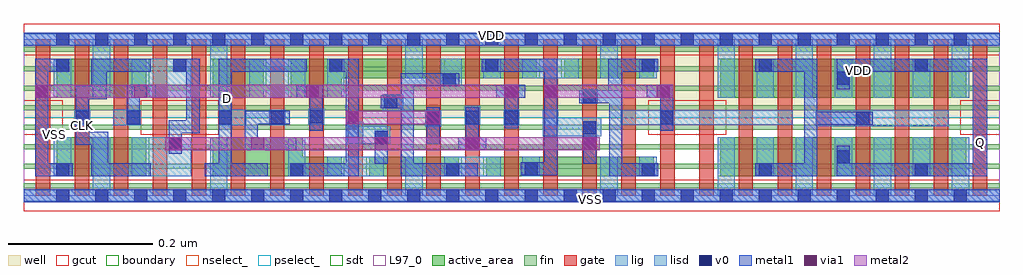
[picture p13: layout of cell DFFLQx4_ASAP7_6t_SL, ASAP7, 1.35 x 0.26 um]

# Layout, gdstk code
import gdstk
lib = gdstk.Library(unit=1e-6, precision=2.5e-10)
def R(c, l, rs):  # rectangles x0, y0, x1, y1
    for r in rs: c.add(gdstk.rectangle(r[:2], r[2:], *l))
def A(c, l, x, y, w, h, nx, ny, dx, dy):  # array of equal rectangles
    R(c, l, [(x+i*dx, y+j*dy, x+i*dx+w, y+j*dy+h) for i in range(nx) for j in range(ny)])
def P(c, l, *ps):  # polygons
    for p in ps: c.add(gdstk.Polygon(p, *l))
well = (1, 0)
fin = (2, 0)
gate = (7, 0)
gcut = (10, 0)
active_area = (11, 0)
nselect_ = (12, 0)
pselect_ = (13, 0)
lig = (16, 0)
lisd = (17, 0)
v0 = (18, 0)
metal1 = (19, 0)
metal2 = (20, 0)
via1 = (21, 0)
sdt = (88, 0)
L97_0 = (97, 0)
boundary = (100, 0)

dfflqx4_asap7_6t_sl = lib.new_cell('DFFLQx4_ASAP7_6t_SL')
R(dfflqx4_asap7_6t_sl, well, [(0,0.108,1.08,0.216), (1.08,0.108,1.134,0.216), (1.134,0.108,1.35,0.216)])
A(dfflqx4_asap7_6t_sl, fin, 0, 0.01, 1.08, 0.007, 1, 8, 0, 0.027)
A(dfflqx4_asap7_6t_sl, fin, 1.08, 0.01, 0.054, 0.007, 1, 8, 0, 0.027)
A(dfflqx4_asap7_6t_sl, fin, 1.134, 0.01, 0.216, 0.007, 1, 8, 0, 0.027)
A(dfflqx4_asap7_6t_sl, gate, 0.017, 0, 0.02, 0.216, 25, 1, 0.054, 0)
R(dfflqx4_asap7_6t_sl, gcut, [(0,-0.022,1.35,0.022), (0,0.084,0.054,0.132), (0.162,0.084,0.27,0.132), (0.864,0.084,0.972,0.132), (1.296,0.084,1.35,0.132), (0,0.194,1.35,0.238)])
R(dfflqx4_asap7_6t_sl, active_area, [(0.046,0.027,0.17,0.081), (0.478,0.027,0.602,0.054), (0.64,0.027,0.872,0.054), (0.964,0.027,1.304,0.081), (0.046,0.135,0.17,0.189), (0.262,0.135,0.332,0.189), (0.964,0.135,1.304,0.189), (0.748,0.162,0.872,0.189)])
P(dfflqx4_asap7_6t_sl, active_area, [(0.71,0.189),(0.37,0.189),(0.37,0.135),(0.44,0.135),(0.44,0.162),(0.71,0.162)],
  [(0.44,0.054),(0.386,0.054),(0.386,0.081),(0.262,0.081),(0.262,0.027),(0.44,0.027)])
R(dfflqx4_asap7_6t_sl, nselect_, [(0,0,1.08,0.108), (1.08,0,1.134,0.108), (1.134,0,1.35,0.108)])
R(dfflqx4_asap7_6t_sl, pselect_, [(0,0.108,1.08,0.216), (1.08,0.108,1.134,0.216), (1.134,0.108,1.35,0.216)])
R(dfflqx4_asap7_6t_sl, lig, [(0,-0.008,1.35,0.008), (0.448,0.072,0.47,0.102), (0.556,0.095,0.578,0.118), (1.096,0.096,1.28,0.118), (0.07,0.097,0.092,0.119), (0.124,0.097,0.162,0.119), (0.27,0.097,0.308,0.119), (0.34,0.097,0.362,0.119), (0.664,0.097,0.686,0.119), (0.718,0.097,0.74,0.119), (0.394,0.098,0.416,0.12), (0.61,0.098,0.632,0.124), (0.826,0.098,1.064,0.118), (0.497,0.117,0.525,0.14), (0.772,0.127,0.794,0.147), (0,0.208,1.35,0.224)])
A(dfflqx4_asap7_6t_sl, lisd, 0.96, 0, 0.024, 0.081, 4, 2, 0.108, 0.135)
A(dfflqx4_asap7_6t_sl, lisd, 1.014, 0.027, 0.024, 0.054, 3, 2, 0.108, 0.108)
R(dfflqx4_asap7_6t_sl, lisd, [(0.096,0,0.12,0.081), (0.258,0,0.282,0.081), (0.528,0,0.552,0.054), (0.798,0,0.822,0.054), (0.042,0.027,0.066,0.081), (0.15,0.027,0.232,0.081), (0.366,0.027,0.39,0.081), (0.42,0.027,0.498,0.054), (0.582,0.027,0.66,0.054), (0.69,0.027,0.714,0.054), (0.852,0.027,0.876,0.054), (0.448,0.072,0.507,0.096), (0.718,0.082,0.799,0.108), (0.042,0.135,0.066,0.189), (0.096,0.135,0.12,0.216), (0.15,0.135,0.231,0.189), (0.258,0.135,0.282,0.216), (0.312,0.135,0.39,0.189), (0.42,0.135,0.444,0.189), (0.577,0.151,0.606,0.189), (0.528,0.162,0.552,0.216), (0.636,0.162,0.66,0.189), (0.69,0.162,0.768,0.189), (0.798,0.162,0.822,0.216), (0.852,0.162,0.876,0.189)])
A(dfflqx4_asap7_6t_sl, v0, 0.045, -0.009, 0.018, 0.018, 24, 2, 0.054, 0.216)
A(dfflqx4_asap7_6t_sl, v0, 0.207, 0.171, 0.018, 0.018, 4, 1, 0.216, 0)
R(dfflqx4_asap7_6t_sl, v0, [(0.045,0.027,0.063,0.045), (0.369,0.027,0.387,0.045), (0.585,0.027,0.603,0.045), (0.855,0.027,0.873,0.045), (1.017,0.027,1.035,0.045), (1.233,0.027,1.251,0.045), (0.693,0.028,0.711,0.046), (1.125,0.045,1.143,0.063), (0.201,0.063,0.219,0.081), (0.486,0.072,0.504,0.09), (0.774,0.085,0.792,0.103), (0.558,0.097,0.576,0.115), (1.152,0.098,1.17,0.116), (0.072,0.099,0.09,0.117), (0.143,0.099,0.161,0.117), (0.27,0.099,0.288,0.117), (0.342,0.099,0.36,0.117), (0.612,0.099,0.63,0.117), (0.666,0.099,0.684,0.117), (0.881,0.099,0.899,0.117), (0.396,0.1,0.414,0.118), (0.499,0.121,0.517,0.139), (0.774,0.128,0.792,0.146), (0.58,0.151,0.598,0.169), (1.125,0.153,1.143,0.171), (0.045,0.171,0.063,0.189), (1.017,0.171,1.035,0.189), (1.233,0.171,1.251,0.189)])
R(dfflqx4_asap7_6t_sl, metal1, [(0,-0.009,1.35,0.009), (0.486,0.044,0.504,0.09), (0.774,0.044,0.792,0.103), (0.558,0.072,0.576,0.122), (0,0.207,1.35,0.225)])
P(dfflqx4_asap7_6t_sl, metal1, [(0.464,0.189),(0.423,0.189),(0.423,0.171),(0.446,0.171),(0.446,0.045),(0.369,0.045),(0.369,0.027),(0.464,0.027)],
  [(0.414,0.153),(0.377,0.153),(0.377,0.135),(0.396,0.135),(0.396,0.09),(0.414,0.09)],
  [(0.392,0.189),(0.27,0.189),(0.27,0.045),(0.251,0.045),(0.251,0.027),(0.338,0.027),(0.338,0.045),(0.288,0.045),(0.288,0.171),(0.392,0.171)],
  [(0.377,0.081),(0.324,0.081),(0.324,0.099),(0.368,0.099),(0.368,0.117),(0.306,0.117),(0.306,0.063),(0.377,0.063)],
  [(0.244,0.189),(0.207,0.189),(0.207,0.171),(0.225,0.171),(0.225,0.104),(0.201,0.104),(0.201,0.058),(0.219,0.058),(0.219,0.086),(0.244,0.086)],
  [(0.183,0.153),(0.143,0.153),(0.143,0.099),(0.161,0.099),(0.161,0.135),(0.183,0.135)],
  [(0.176,0.045),(0.117,0.045),(0.117,0.088),(0.09,0.088),(0.09,0.133),(0.115,0.133),(0.115,0.171),(0.176,0.171),(0.176,0.189),(0.094,0.189),(0.094,0.151),(0.072,0.151),(0.072,0.07),(0.094,0.07),(0.094,0.027),(0.176,0.027)],
  [(0.068,0.045),(0.034,0.045),(0.034,0.171),(0.063,0.171),(0.063,0.189),(0.016,0.189),(0.016,0.027),(0.068,0.027)],
  [(1.333,0.189),(1.125,0.189),(1.125,0.147),(1.143,0.147),(1.143,0.171),(1.313,0.171),(1.313,0.045),(1.143,0.045),(1.143,0.069),(1.125,0.069),(1.125,0.027),(1.333,0.027)],
  [(0.878,0.045),(0.828,0.045),(0.828,0.171),(0.878,0.171),(0.878,0.189),(0.809,0.189),(0.809,0.146),(0.769,0.146),(0.769,0.128),(0.81,0.128),(0.81,0.027),(0.878,0.027)],
  [(0.899,0.153),(0.862,0.153),(0.862,0.135),(0.881,0.135),(0.881,0.09),(0.899,0.09)],
  [(1.175,0.116),(1.098,0.116),(1.098,0.189),(1.012,0.189),(1.012,0.171),(1.08,0.171),(1.08,0.045),(1.012,0.045),(1.012,0.027),(1.098,0.027),(1.098,0.098),(1.175,0.098)],
  [(0.738,0.189),(0.634,0.189),(0.634,0.171),(0.72,0.171),(0.72,0.046),(0.688,0.046),(0.688,0.028),(0.738,0.028)],
  [(0.628,0.045),(0.54,0.045),(0.54,0.151),(0.603,0.151),(0.603,0.169),(0.522,0.169),(0.522,0.139),(0.494,0.139),(0.494,0.121),(0.522,0.121),(0.522,0.027),(0.628,0.027)],
  [(0.694,0.153),(0.654,0.153),(0.654,0.135),(0.666,0.135),(0.666,0.093),(0.684,0.093),(0.684,0.135),(0.694,0.135)],
  [(0.64,0.081),(0.63,0.081),(0.63,0.122),(0.612,0.122),(0.612,0.081),(0.601,0.081),(0.601,0.063),(0.64,0.063)])
R(dfflqx4_asap7_6t_sl, metal2, [(0.196,0.063,0.797,0.081), (0.446,0.099,0.576,0.117), (0.016,0.135,0.684,0.153), (0.72,0.135,0.899,0.153)])
R(dfflqx4_asap7_6t_sl, via1, [(0.201,0.063,0.219,0.081), (0.315,0.063,0.333,0.081), (0.486,0.063,0.504,0.081), (0.612,0.063,0.63,0.081), (0.774,0.063,0.792,0.081), (0.446,0.099,0.464,0.117), (0.558,0.099,0.576,0.117), (0.016,0.135,0.034,0.153), (0.153,0.135,0.171,0.153), (0.391,0.135,0.409,0.153), (0.666,0.135,0.684,0.153), (0.72,0.135,0.738,0.153), (0.876,0.135,0.894,0.153)])
A(dfflqx4_asap7_6t_sl, sdt, 0.042, 0.027, 0.024, 0.054, 3, 2, 0.054, 0.108)
A(dfflqx4_asap7_6t_sl, sdt, 0.42, 0.027, 0.024, 0.027, 6, 1, 0.054, 0)
A(dfflqx4_asap7_6t_sl, sdt, 0.96, 0.027, 0.024, 0.054, 7, 2, 0.054, 0.108)
A(dfflqx4_asap7_6t_sl, sdt, 0.258, 0.135, 0.024, 0.054, 4, 1, 0.054, 0)
A(dfflqx4_asap7_6t_sl, sdt, 0.528, 0.162, 0.024, 0.027, 7, 1, 0.054, 0)
R(dfflqx4_asap7_6t_sl, sdt, [(0.258,0.027,0.282,0.081), (0.366,0.027,0.39,0.081), (0.798,0.027,0.822,0.054), (0.852,0.027,0.876,0.054)])
R(dfflqx4_asap7_6t_sl, L97_0, [(0,0,1.35,0.216)])
R(dfflqx4_asap7_6t_sl, boundary, [(0,0,1.35,0.216)])
dfflqx4_asap7_6t_sl.add(gdstk.Label('VSS', (0.043,0.085), layer=3, texttype=251))
dfflqx4_asap7_6t_sl.add(gdstk.Label('VSS', (0.784,-0.005), layer=19, texttype=251))
dfflqx4_asap7_6t_sl.add(gdstk.Label('D', (0.282,0.134), layer=19, texttype=251))
dfflqx4_asap7_6t_sl.add(gdstk.Label('CLK', (0.082,0.097), layer=19, texttype=251))
dfflqx4_asap7_6t_sl.add(gdstk.Label('Q', (1.324,0.073), layer=19, texttype=251))
dfflqx4_asap7_6t_sl.add(gdstk.Label('VDD', (0.648,0.221), layer=19, texttype=251))
dfflqx4_asap7_6t_sl.add(gdstk.Label('VDD', (1.155,0.173), layer=1, texttype=251))

lib.write_gds('DFFLQx4_ASAP7_6t_SL.gds')
